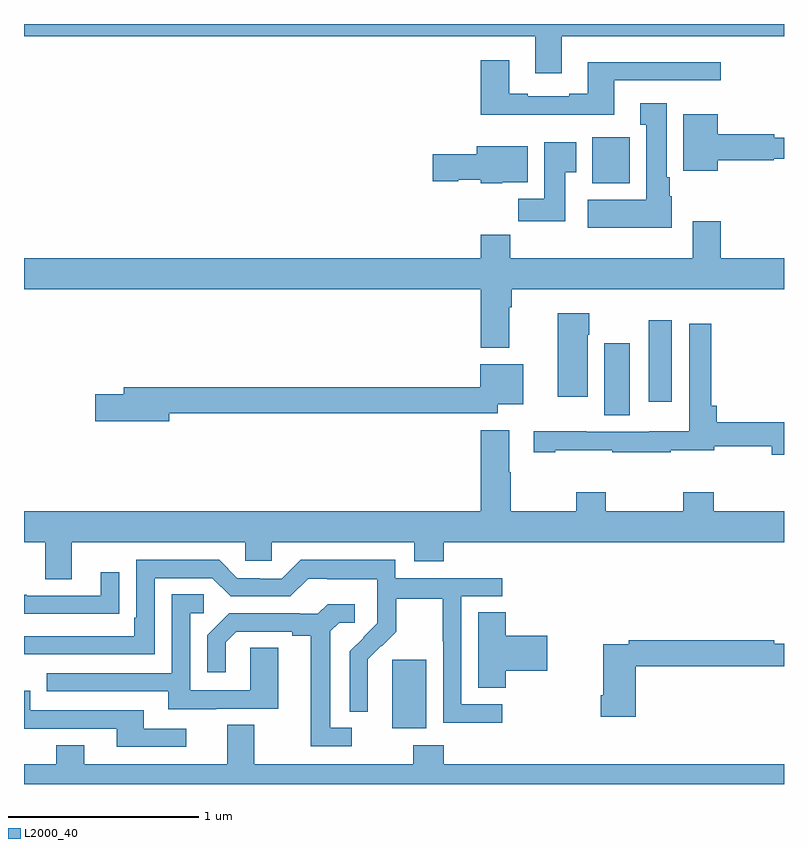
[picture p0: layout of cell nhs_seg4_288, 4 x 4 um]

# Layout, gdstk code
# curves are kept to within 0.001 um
import gdstk
lib = gdstk.Library(unit=1e-6, precision=1e-09)
def R(c, l, rs):  # rectangles x0, y0, x1, y1
    for r in rs: c.add(gdstk.rectangle(r[:2], r[2:], *l))
def P(c, l, *ps):  # polygons
    for p in ps: c.add(gdstk.Polygon(p, *l))
L2000_40 = (2000, 40)

nhs_seg4_288 = lib.new_cell('nhs_seg4_288')
R(nhs_seg4_288, L2000_40, [(126.938,777.194,127.117,777.555), (128.054,778.84,128.188,779.221), (128.288,778.911,128.41,779.341), (127.991,780.062,128.188,780.304)])
P(nhs_seg4_288, L2000_40, [(127.831,780.836),(129,780.836),(129,780.9),(125,780.9),(125,780.836),(127.691,780.836),(127.691,780.642),(127.831,780.642)],
  [(128.107,780.603),(128.668,780.603),(128.668,780.7),(127.967,780.7),(127.967,780.532),(127.871,780.532),(127.871,780.519),(127.651,780.519),(127.651,780.532),(127.555,780.532),(127.555,780.709),(127.403,780.709),(127.403,780.422),(128.107,780.422)],
  [(128.41,779.994),(128.398,779.994),(128.398,780.094),(128.383,780.094),(128.383,780.484),(128.243,780.484),(128.243,780.371),(128.276,780.371),(128.276,779.974),(127.967,779.974),(127.967,779.828),(128.41,779.828)],
  [(128.65,780.184),(128.946,780.184),(128.946,780.192),(129,780.192),(129,780.301),(128.948,780.301),(128.948,780.32),(128.65,780.32),(128.65,780.424),(128.471,780.424),(128.471,780.128),(128.65,780.128)],
  [(127.849,780.121),(127.906,780.121),(127.906,780.277),(127.739,780.277),(127.739,779.98),(127.6,779.98),(127.6,779.862),(127.849,779.862)],
  [(127.518,780.068),(127.651,780.068),(127.651,780.256),(127.382,780.256),(127.382,780.215),(127.152,780.215),(127.152,780.073),(127.286,780.073),(127.286,780.08),(127.404,780.08),(127.404,780.062),(127.518,780.062)],
  [(127.555,779.408),(127.568,779.408),(127.568,779.504),(129,779.504),(129,779.668),(128.667,779.668),(128.667,779.863),(128.519,779.863),(128.519,779.668),(127.559,779.668),(127.559,779.792),(127.403,779.792),(127.403,779.668),(125,779.668),(125,779.504),(127.403,779.504),(127.403,779.195),(127.555,779.195)],
  [(127.966,779.264),(127.974,779.264),(127.974,779.377),(127.808,779.377),(127.808,778.938),(127.966,778.938)],
  [(129,778.805),(128.645,778.805),(128.645,778.891),(128.618,778.891),(128.618,779.323),(128.502,779.323),(128.502,778.756),(128.292,778.756),(128.292,778.755),(127.958,778.755),(127.958,778.757),(127.683,778.757),(127.683,778.647),(127.795,778.647),(127.795,778.657),(128.095,778.657),(128.095,778.647),(128.405,778.647),(128.405,778.657),(128.632,778.657),(128.632,778.677),(128.936,778.677),(128.936,778.634),(129,778.634)],
  [(125.764,778.852),(127.494,778.852),(127.494,778.898),(127.627,778.898),(127.627,779.11),(127.4,779.11),(127.4,778.988),(125.525,778.988),(125.525,778.952),(125.376,778.952),(125.376,778.81),(125.764,778.81)],
  [(125.251,778.172),(126.165,778.172),(126.165,778.074),(126.303,778.074),(126.303,778.172),(127.055,778.172),(127.055,778.073),(127.208,778.073),(127.208,778.172),(129,778.172),(129,778.336),(128.63,778.336),(128.63,778.435),(128.47,778.435),(128.47,778.336),(128.061,778.336),(128.061,778.435),(127.906,778.435),(127.906,778.336),(127.563,778.336),(127.563,778.541),(127.555,778.541),(127.555,778.762),(127.403,778.762),(127.403,778.336),(125,778.336),(125,778.172),(125.111,778.172),(125.111,777.978),(125.251,777.978)],
  [(127.516,777.321),(127.302,777.321),(127.302,777.888),(127.516,777.888),(127.516,777.984),(126.954,777.984),(126.954,778.081),(126.457,778.081),(126.357,777.981),(126.242,777.981),(126.242,777.984),(126.123,777.984),(126.027,778.08),(125.592,778.08),(125.592,777.775),(125.579,777.775),(125.579,777.678),(125,777.678),(125,777.582),(125.688,777.582),(125.688,777.984),(125.991,777.984),(126.087,777.888),(126.402,777.888),(126.495,777.981),(126.595,777.981),(126.595,777.977),(126.858,777.977),(126.858,777.843),(126.86,777.843),(126.86,777.746),(126.714,777.598),(126.714,777.28),(126.81,777.28),(126.809,777.557),(126.879,777.627),(126.882,777.624),(126.959,777.701),(126.959,777.876),(127.204,777.876),(127.204,777.652),(127.206,777.652),(127.206,777.223),(127.516,777.223)],
  [(125.399,777.796),(125.501,777.796),(125.501,778.015),(125.405,778.015),(125.405,777.891),(125.015,777.891),(125.015,777.896),(125,777.896),(125,777.795),(125.399,777.795)],
  [(126.013,777.297),(126.337,777.297),(126.337,777.617),(126.192,777.617),(126.192,777.393),(125.874,777.393),(125.874,777.798),(125.947,777.798),(125.947,777.899),(125.778,777.899),(125.778,777.483),(125.119,777.483),(125.119,777.387),(125.759,777.387),(125.759,777.293),(126.013,777.293)],
  [(126.724,777.195),(126.613,777.195),(126.613,777.703),(126.66,777.75),(126.742,777.75),(126.742,777.847),(126.598,777.847),(126.546,777.795),(126.452,777.795),(126.452,777.798),(126.08,777.798),(125.964,777.682),(125.964,777.489),(126.061,777.489),(126.061,777.645),(126.118,777.702),(126.413,777.702),(126.413,777.68),(126.509,777.68),(126.509,777.099),(126.724,777.099)],
  [(127.535,777.497),(127.753,777.497),(127.753,777.68),(127.535,777.68),(127.535,777.803),(127.391,777.803),(127.391,777.406),(127.535,777.406)],
  [(128.219,777.52),(129,777.52),(129,777.637),(128.948,777.637),(128.948,777.656),(128.182,777.656),(128.182,777.636),(128.048,777.636),(128.048,777.367),(128.036,777.367),(128.036,777.255),(128.219,777.255)],
  [(125.854,777.192),(125.629,777.192),(125.629,777.288),(125.034,777.288),(125.034,777.391),(125,777.391),(125,777.192),(125.489,777.192),(125.489,777.096),(125.854,777.096)],
  [(129,777.004),(127.208,777.004),(127.208,777.103),(127.048,777.103),(127.048,777.004),(126.211,777.004),(126.211,777.212),(126.071,777.212),(126.071,777.004),(125.317,777.004),(125.317,777.103),(125.17,777.103),(125.17,777.004),(125,777.004),(125,776.9),(129,776.9)])

lib.write_gds('nhs_seg4_288.gds')
